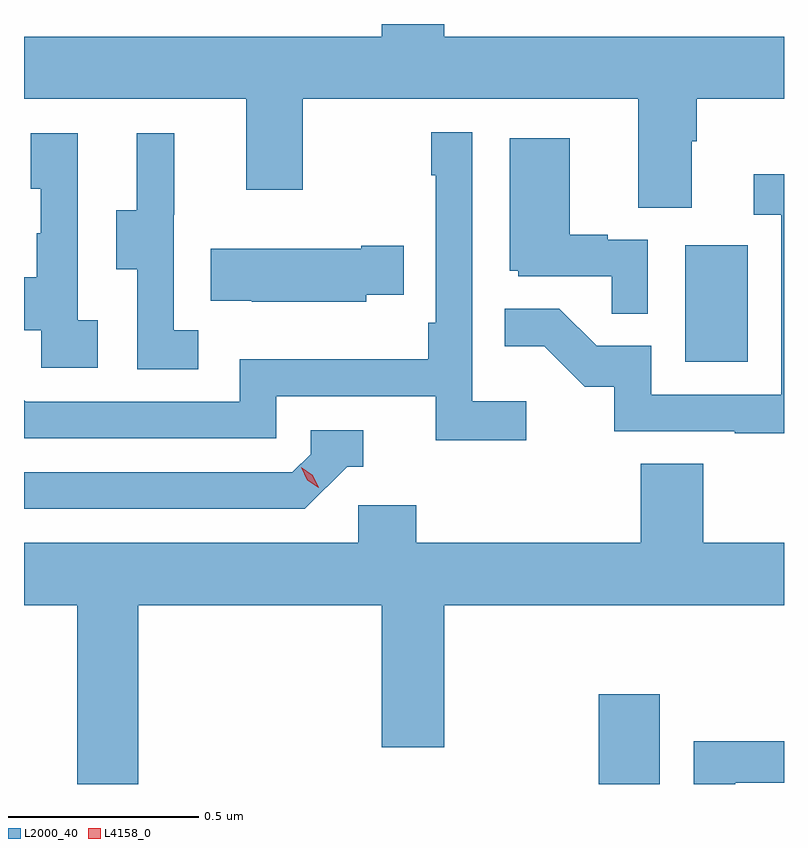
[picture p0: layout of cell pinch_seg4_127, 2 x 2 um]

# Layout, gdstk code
import gdstk
lib = gdstk.Library(unit=1e-6, precision=1e-09)
def R(c, l, rs):  # rectangles x0, y0, x1, y1
    for r in rs: c.add(gdstk.rectangle(r[:2], r[2:], *l))
def P(c, l, *ps):  # polygons
    for p in ps: c.add(gdstk.Polygon(p, *l))
L2000_40 = (2000, 40)
L4158_0 = (4158, 0)

pinch_seg4_127 = lib.new_cell('pinch_seg4_127')
R(pinch_seg4_127, L2000_40, [(1040.702,793.685,1040.863,793.921), (1040.93,794.796,1041.094,795.103)])
P(pinch_seg4_127, L2000_40, [(1040.947,795.376),(1040.96,795.376),(1040.96,795.488),(1041.19,795.488),(1041.19,795.652),(1040.296,795.652),(1040.296,795.685),(1040.132,795.685),(1040.132,795.652),(1039.19,795.652),(1039.19,795.488),(1039.775,795.488),(1039.775,795.249),(1039.923,795.249),(1039.923,795.488),(1040.807,795.488),(1040.807,795.202),(1040.947,795.202)],
  [(1040.512,794.692),(1040.37,794.692),(1040.37,795.4),(1040.262,795.4),(1040.262,795.287),(1040.274,795.287),(1040.274,794.899),(1040.254,794.899),(1040.254,794.803),(1039.758,794.803),(1039.758,794.691),(1039.194,794.691),(1039.19,794.695),(1039.19,794.595),(1039.854,794.595),(1039.854,794.706),(1040.273,794.706),(1040.273,794.59),(1040.512,794.59)],
  [(1039.648,794.879),(1039.584,794.879),(1039.584,795.183),(1039.586,795.183),(1039.586,795.397),(1039.487,795.397),(1039.487,795.195),(1039.433,795.195),(1039.433,795.04),(1039.488,795.04),(1039.488,794.776),(1039.648,794.776)],
  [(1039.384,794.906),(1039.332,794.906),(1039.332,795.397),(1039.208,795.397),(1039.208,795.252),(1039.234,795.252),(1039.234,795.134),(1039.224,795.134),(1039.224,795.019),(1039.19,795.019),(1039.19,794.879),(1039.236,794.879),(1039.236,794.781),(1039.384,794.781)],
  [(1040.832,795.117),(1040.726,795.117),(1040.726,795.13),(1040.626,795.13),(1040.626,795.385),(1040.468,795.385),(1040.468,795.036),(1040.49,795.036),(1040.49,795.021),(1040.737,795.021),(1040.737,794.923),(1040.832,794.923)],
  [(1041.19,795.289),(1041.111,795.289),(1041.111,795.183),(1041.183,795.183),(1041.183,794.709),(1040.841,794.709),(1040.841,794.838),(1040.697,794.838),(1040.599,794.936),(1040.455,794.936),(1040.455,794.837),(1040.559,794.837),(1040.666,794.73),(1040.743,794.73),(1040.743,794.613),(1041.061,794.613),(1041.061,794.608),(1041.19,794.608)],
  [(1040.091,794.972),(1040.189,794.972),(1040.189,795.102),(1040.078,795.102),(1040.078,795.094),(1039.681,795.094),(1039.681,794.957),(1039.789,794.957),(1039.789,794.954),(1040.091,794.954)],
  [(1040.04,794.52),(1040.083,794.52),(1040.083,794.616),(1039.944,794.616),(1039.944,794.553),(1039.896,794.505),(1039.19,794.505),(1039.19,794.409),(1039.929,794.409)],
  [(1039.49,794.156),(1040.132,794.156),(1040.132,793.782),(1040.296,793.782),(1040.296,794.156),(1041.19,794.156),(1041.19,794.32),(1040.978,794.32),(1040.978,794.528),(1040.813,794.528),(1040.813,794.32),(1040.222,794.32),(1040.222,794.418),(1040.07,794.418),(1040.07,794.32),(1039.19,794.32),(1039.19,794.156),(1039.33,794.156),(1039.33,793.685),(1039.49,793.685)],
  [(1041.062,793.688),(1041.19,793.688),(1041.19,793.798),(1040.952,793.798),(1040.952,793.685),(1041.062,793.685)])
P(pinch_seg4_127, L4158_0, [(1039.965,794.465),(1039.935,794.485),(1039.919,794.518),(1039.919,794.518),(1039.919,794.518),(1039.95,794.498),(1039.966,794.466),(1039.966,794.465)])

lib.write_gds('pinch_seg4_127.gds')
